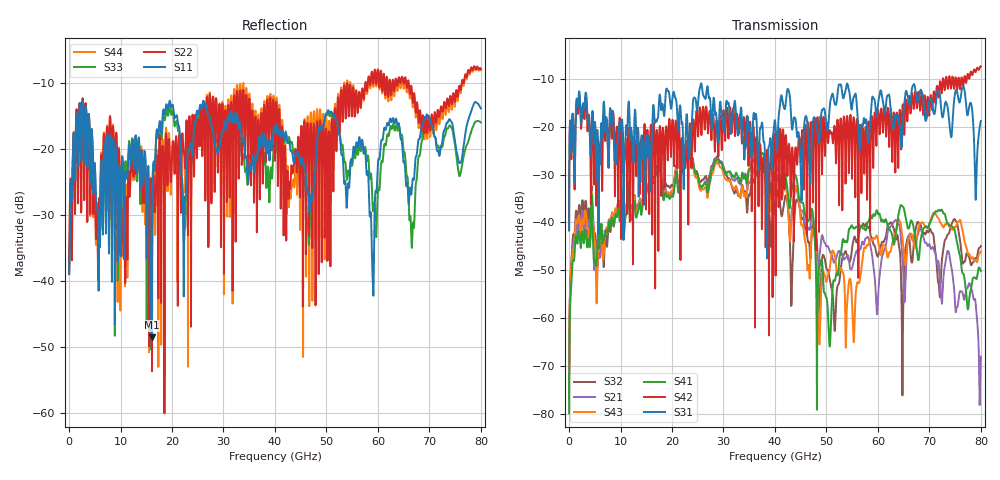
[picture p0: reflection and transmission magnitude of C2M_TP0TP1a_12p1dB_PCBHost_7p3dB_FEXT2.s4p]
!! Reference: shanbhag_3dj_03_2305.pdf
!! CHANNEL DESCRIPTION: TP0_TP1a C2M Channel, PCB Host
!! MODEL DESCRIPTION: s4p, FEXT2
!! CONNECTOR DESCRIPTION: OSFP 200G SMT
!! MODEL STATUS: Developmental
!! PORT DEFINITIONS:
!! Port  1  ----->  Side A  Side B  <-----  Port  2
!! Port  3  ----->  Side A  Side B  <-----  Port  4
# HZ S MA R 50.000000
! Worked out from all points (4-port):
!   8000 points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, 10 MHz to 80 GHz, reference 50 ohm
!   strongest paths, dB at 10 MHz, 20.01 GHz, 40.01 GHz, 60.01 GHz, 80 GHz:
!     S31: -41.6, -14.8, -18.7, -15.3, -18.8
!     S42: -41.7, -19.2, -25.9, -16.4, -7.4
!     S41: -79.9, -34.4, -30.0, -38.2, -50.2
!     S43: -77.0, -33.4, -32.8, -43.7, -46.0
!     S21: -77.1, -33.8, -31.9, -56.2, -68.1
!     S32: -74.4, -32.2, -36.2, -47.1, -45.0
!   lowest |S11| = -48.5 dB at 16.02 GHz (marker M1), VSWR 1.01, Z = 49.7 - j0.236 ohm
!   |S11| at or under -10 dB: start of sweep to end of sweep
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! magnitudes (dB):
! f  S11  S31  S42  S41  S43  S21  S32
! 10 MHz  -38.9  -41.6  -41.7  -79.9  -77.0  -77.1  -74.4
! 1.62 GHz  -16.0  -15.2  -16.4  -44.4  -40.2  -42.8  -40.2
! 16.02 GHz  -48.5  -24.4  -22.1  -31.9  -31.2  -31.5  -31.0
! 37.52 GHz  -17.7  -19.3  -35.1  -25.5  -26.7  -26.6  -28.7
! 48.66 GHz  -16.5  -22.6  -22.6  -49.0  -65.0  -46.8  -58.6
! 68.3 GHz  -17.4  -12.2  -15.0  -43.7  -40.1  -41.3  -40.5
! 80 GHz  -13.8  -18.8  -7.4  -50.2  -46.0  -68.1  -45.0
